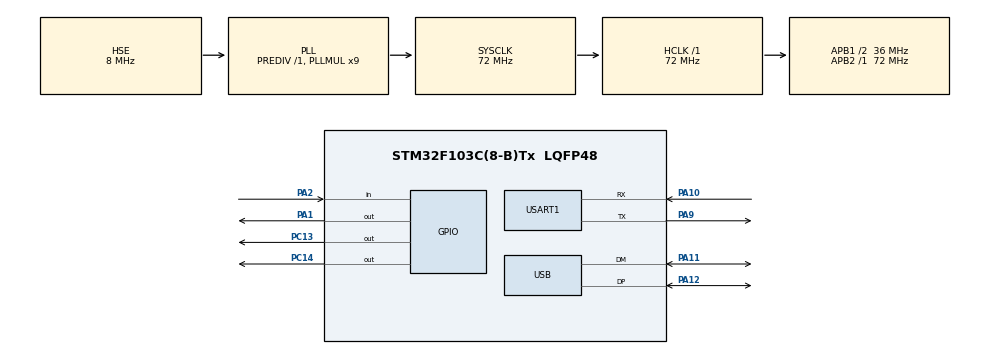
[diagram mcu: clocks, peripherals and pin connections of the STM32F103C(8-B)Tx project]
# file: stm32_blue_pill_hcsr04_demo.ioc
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FREERTOS.HEAP_NUMBER=5
FREERTOS.Tasks01=defaultTask,24,128,StartDefaultTask,Default,NULL,Dynamic,NULL,NULL;myLedTask,24,128,StartLedTask,Default,NULL,Dynamic,NULL,NULL;myBtn,24,128,StartBtnTask,Default,NULL,Dynamic,NULL,NULL
FREERTOS.Timers01=rtosTimer1,callbackTimer1,osTimerPeriodic,Default,NULL,Dynamic,NULL
FREERTOS.configUSE_STATS_FORMATTING_FUNCTIONS=1
Mcu.Family=STM32F1
Mcu.Name=STM32F103C(8-B)Tx
Mcu.Package=LQFP48
NVIC.PriorityGroup=NVIC_PRIORITYGROUP_4
NVIC.TIM2_IRQn=true\:0\:0\:false\:false\:true\:false\:false\:true
NVIC.TimeBase=TIM2_IRQn
NVIC.TimeBaseIP=TIM2
NVIC.USART1_IRQn=true\:5\:0\:false\:false\:true\:true\:true\:true
NVIC.USB_LP_CAN1_RX0_IRQn=true\:5\:0\:false\:false\:true\:true\:false\:true
PA1.Signal=GPIO_Output
PA10.Mode=Asynchronous
PA10.Signal=USART1_RX
PA11.Mode=Device
PA11.Signal=USB_DM
PA12.Mode=Device
PA12.Signal=USB_DP
PA13.Mode=Serial_Wire
PA13.Signal=SYS_JTMS-SWDIO
PA14.Mode=Serial_Wire
PA14.Signal=SYS_JTCK-SWCLK
PA2.Signal=GPIO_Input
PA9.Mode=Asynchronous
PA9.Signal=USART1_TX
PC13-TAMPER-RTC.Signal=GPIO_Output
PC14-OSC32_IN.Signal=GPIO_Output
PD0-OSC_IN.Mode=HSE-External-Oscillator
PD0-OSC_IN.Signal=RCC_OSC_IN
PD1-OSC_OUT.Mode=HSE-External-Oscillator
PD1-OSC_OUT.Signal=RCC_OSC_OUT
ProjectManager.HeapSize=0x200
ProjectManager.StackSize=0x400
ProjectManager.TargetToolchain=STM32CubeIDE
RCC.AHBFreq_Value=72000000
RCC.APB1CLKDivider=RCC_HCLK_DIV2
RCC.APB1Freq_Value=36000000
RCC.APB1TimFreq_Value=72000000
RCC.APB2Freq_Value=72000000
RCC.APB2TimFreq_Value=72000000
RCC.HCLKFreq_Value=72000000
RCC.PLLMUL=RCC_PLL_MUL9
RCC.PLLSourceVirtual=RCC_PLLSOURCE_HSE
RCC.SYSCLKFreq_VALUE=72000000
RCC.SYSCLKSource=RCC_SYSCLKSOURCE_PLLCLK
RCC.USBFreq_Value=48000000
RCC.USBPrescaler=RCC_USBCLKSOURCE_PLL_DIV1_5
TIM1.Period=0xffff-1
TIM1.Prescaler=72-1
TIM3.Period=0xffff-1
TIM3.Prescaler=72-1
USART1.VirtualMode=VM_ASYNC
USB_DEVICE.CLASS_NAME_FS=CDC
USB_DEVICE.VirtualMode=Cdc
USB_DEVICE.VirtualModeFS=Cdc_FS
VP_FREERTOS_VS_CMSIS_V2.Mode=CMSIS_V2
VP_SYS_VS_tim2.Mode=TIM2
VP_TIM1_VS_ClockSourceINT.Mode=Internal
VP_TIM3_VS_ClockSourceINT.Mode=Internal
VP_USB_DEVICE_VS_USB_DEVICE_CDC_FS.Mode=CDC_FS
board=custom

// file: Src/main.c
/* USER CODE BEGIN Header */
/**
  ******************************************************************************
  * @file           : main.c
  * @brief          : Main program body
  ******************************************************************************
  * @attention
  *
  * <h2><center>&copy; Copyright (c) 2019 STMicroelectronics.
  * All rights reserved.</center></h2>
  *
  * This software component is licensed by ST under BSD 3-Clause license,
  * the "License"; You may not use this file except in compliance with the
  * License. You may obtain a copy of the License at:
  *                        opensource.org/licenses/BSD-3-Clause
  *
  ******************************************************************************
  */
/* USER CODE END Header */

#include "main.h"
#include "cmsis_os.h"
#include "tim.h"
#include "usart.h"
#include "usb_device.h"
#include "gpio.h"

void SystemClock_Config(void);
void MX_FREERTOS_Init(void);

int main(void)
{

  /* MCU Configuration--------------------------------------------------------*/

  /* Reset of all peripherals, Initializes the Flash interface and the Systick. */
  HAL_Init();

  /* Configure the system clock */
  SystemClock_Config();

  /* Initialize all configured peripherals */
  MX_GPIO_Init();
  MX_USART1_UART_Init();
  MX_TIM1_Init();
  MX_TIM3_Init();
  /* USER CODE BEGIN 2 */
  HAL_TIM_Base_Start_IT(&htim1);
  HAL_TIM_Base_Start_IT(&htim3);
  /* USER CODE END 2 */
  /* Init scheduler */
  osKernelInitialize();

  /* Call init function for freertos objects (in freertos.c) */
  MX_FREERTOS_Init();

  /* Start scheduler */
  osKernelStart();

  /* We should never get here as control is now taken by the scheduler */

  /* Infinite loop */
  while (1)
  {

  }
}

void SystemClock_Config(void)
{
  RCC_OscInitTypeDef RCC_OscInitStruct = {0};
  RCC_ClkInitTypeDef RCC_ClkInitStruct = {0};
  RCC_PeriphCLKInitTypeDef PeriphClkInit = {0};

  /** Initializes the CPU, AHB and APB busses clocks
  */
  RCC_OscInitStruct.OscillatorType = RCC_OSCILLATORTYPE_HSE;
  RCC_OscInitStruct.HSEState = RCC_HSE_ON;
  RCC_OscInitStruct.HSEPredivValue = RCC_HSE_PREDIV_DIV1;
  RCC_OscInitStruct.HSIState = RCC_HSI_ON;
  RCC_OscInitStruct.PLL.PLLState = RCC_PLL_ON;
  RCC_OscInitStruct.PLL.PLLSource = RCC_PLLSOURCE_HSE;
  RCC_OscInitStruct.PLL.PLLMUL = RCC_PLL_MUL9;
  if (HAL_RCC_OscConfig(&RCC_OscInitStruct) != HAL_OK)
  {
    Error_Handler();
  }
  /** Initializes the CPU, AHB and APB busses clocks
  */
  RCC_ClkInitStruct.ClockType = RCC_CLOCKTYPE_HCLK|RCC_CLOCKTYPE_SYSCLK
                              |RCC_CLOCKTYPE_PCLK1|RCC_CLOCKTYPE_PCLK2;
  RCC_ClkInitStruct.SYSCLKSource = RCC_SYSCLKSOURCE_PLLCLK;
  RCC_ClkInitStruct.AHBCLKDivider = RCC_SYSCLK_DIV1;
  RCC_ClkInitStruct.APB1CLKDivider = RCC_HCLK_DIV2;
  RCC_ClkInitStruct.APB2CLKDivider = RCC_HCLK_DIV1;

  if (HAL_RCC_ClockConfig(&RCC_ClkInitStruct, FLASH_LATENCY_2) != HAL_OK)
  {
    Error_Handler();
  }
  PeriphClkInit.PeriphClockSelection = RCC_PERIPHCLK_USB;
  PeriphClkInit.UsbClockSelection = RCC_USBCLKSOURCE_PLL_DIV1_5;
  if (HAL_RCCEx_PeriphCLKConfig(&PeriphClkInit) != HAL_OK)
  {
    Error_Handler();
  }
}

void HAL_TIM_PeriodElapsedCallback(TIM_HandleTypeDef *htim)
{
  if (htim->Instance == TIM2) {
    HAL_IncTick();
  }
}

void Error_Handler(void)
{
}

/************************ (C) COPYRIGHT STMicroelectronics *****END OF FILE****/

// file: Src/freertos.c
/* USER CODE BEGIN Header */
/**
  ******************************************************************************
  * File Name          : freertos.c
  * Description        : Code for freertos applications
  ******************************************************************************
  * @attention
  *
  * <h2><center>&copy; Copyright (c) 2020 STMicroelectronics.
  * All rights reserved.</center></h2>
  *
  * This software component is licensed by ST under Ultimate Liberty license
  * SLA0044, the "License"; You may not use this file except in compliance with
  * the License. You may obtain a copy of the License at:
  *                             www.st.com/SLA0044
  *
  ******************************************************************************
  */
/* USER CODE END Header */

#include "FreeRTOS.h"
#include "task.h"
#include "main.h"
#include "cmsis_os.h"

/* USER CODE BEGIN Includes */
#include "usart.h"
#include "tim.h"
/* USER CODE END Includes */

/* USER CODE BEGIN PD */
#define timeout_expired(start, len) ((HAL_GetTick() - (start)) >= (len))
#define TIMEOUT "TIMEOUT!"
uint32_t local_time, sensor_time;
const float speedOfSound = 0.0343/2;
uint8_t buff[10];
uint32_t distance, local_time;
/* USER CODE END PD */

/* USER CODE BEGIN Variables */
char pcWriteBuffer[1024];
/* USER CODE END Variables */
/* Definitions for defaultTask */
osThreadId_t defaultTaskHandle;
const osThreadAttr_t defaultTask_attributes = {
  .name = "defaultTask",
  .priority = (osPriority_t) osPriorityNormal,
  .stack_size = 128
};
/* Definitions for myLedTask */
osThreadId_t myLedTaskHandle;
const osThreadAttr_t myLedTask_attributes = {
  .name = "myLedTask",
  .priority = (osPriority_t) osPriorityNormal,
  .stack_size = 128
};
/* Definitions for myBtn */
osThreadId_t myBtnHandle;
const osThreadAttr_t myBtn_attributes = {
  .name = "myBtn",
  .priority = (osPriority_t) osPriorityNormal,
  .stack_size = 712
};
/* Definitions for rtosTimer1 */
osTimerId_t rtosTimer1Handle;
const osTimerAttr_t rtosTimer1_attributes = {
  .name = "rtosTimer1"
};

/* USER CODE BEGIN FunctionPrototypes */
uint32_t hcsr04_read (void);
/* USER CODE END FunctionPrototypes */

void StartDefaultTask(void *argument);
void StartLedTask(void *argument);
void StartBtnTask(void *argument);
void callbackTimer1(void *argument);

extern void MX_USB_DEVICE_Init(void);
void MX_FREERTOS_Init(void); /* (MISRA C 2004 rule 8.1) */

void MX_FREERTOS_Init(void) {

  /* Create the timer(s) */
  /* creation of rtosTimer1 */
  rtosTimer1Handle = osTimerNew(callbackTimer1, osTimerPeriodic, NULL, &rtosTimer1_attributes);

  /* Create the thread(s) */
  /* creation of defaultTask */
  defaultTaskHandle = osThreadNew(StartDefaultTask, NULL, &defaultTask_attributes);

  /* creation of myLedTask */
  myLedTaskHandle = osThreadNew(StartLedTask, NULL, &myLedTask_attributes);

  /* creation of myBtn */
  myBtnHandle = osThreadNew(StartBtnTask, NULL, &myBtn_attributes);

}

void StartDefaultTask(void *argument)
{
  /* init code for USB_DEVICE */
  MX_USB_DEVICE_Init();
  /* USER CODE BEGIN StartDefaultTask */
  /* Infinite loop */
  for(;;)
  {
    osDelay(1000);
  }
  /* USER CODE END StartDefaultTask */
}

void StartLedTask(void *argument)
{
  /* USER CODE BEGIN StartLedTask */
  /* Infinite loop */
  for(;;)
  {
	   osDelay(1000);
	  HAL_GPIO_TogglePin(GPIOC, GPIO_PIN_13);
//	  uint8_t buff[] = "Hello world\r\n";
//	 	  HAL_UART_Transmit_IT(&huart1, buff, strlen(buff));

  }
  /* USER CODE END StartLedTask */
}

void StartBtnTask(void *argument)
{
  /* USER CODE BEGIN StartBtnTask */
  /* Infinite loop */
  for(;;)
  {
	  HAL_GPIO_TogglePin(GPIOC, GPIO_PIN_14);
	  uint32_t distance  = hcsr04_read();
	  memset(buff, 0, sizeof buff);
	  int_to_char_arr(distance, buff);

	  HAL_UART_Transmit_IT(&huart1, buff, strlen(buff));
	  CDC_Transmit_FS(buff, strlen(buff));
	  osDelay(1000);
  }
  /* USER CODE END StartBtnTask */
}

/* callbackTimer1 function */
void callbackTimer1(void *argument)
{
  /* USER CODE BEGIN callbackTimer1 */

	float val = 123.234;
	char buff1[] = "123.123\r\n";
	//HAL_UART_Transmit_IT(&huart1, buff1, strlen(buff1));
  /* USER CODE END callbackTimer1 */
}

/* USER CODE BEGIN Application */
uint32_t hcsr04_read (void)
{
	local_time=0;
	HAL_GPIO_WritePin(GPIOA, GPIO_PIN_1, GPIO_PIN_RESET);  // pull the TRIG pin HIGH
	delay(2);  // wait for 2 us

	HAL_GPIO_WritePin(GPIOA, GPIO_PIN_1, GPIO_PIN_SET);  // pull the TRIG pin HIGH
	delay(10);  // wait for 10 us
	HAL_GPIO_WritePin(GPIOA, GPIO_PIN_1, GPIO_PIN_RESET);  // pull the TRIG pin low

	// read the time for which the pin is high
	int32_t start = HAL_GetTick();
	while (HAL_GPIO_ReadPin(GPIOA, GPIO_PIN_2) == GPIO_PIN_RESET)// wait for the ECHO pin to go high
	{
		if (timeout_expired(start, 2000)) {
			CDC_Transmit_FS(TIMEOUT, strlen(TIMEOUT));
			break;
		}
	}
	start = HAL_GetTick();
	while (HAL_GPIO_ReadPin(GPIOA, GPIO_PIN_2) == GPIO_PIN_SET)    // while the pin is high
	 {
		if (timeout_expired(start, 2000)) {
					CDC_Transmit_FS(TIMEOUT, strlen(TIMEOUT));
					break;
				}
		local_time++;   // measure time for which the pin is high
		delay(1);
	 }
	return 28*local_time* speedOfSound;
}

void delay (uint32_t us)
{
	__HAL_TIM_SET_COUNTER(&htim1, 0);
	while ((__HAL_TIM_GET_COUNTER(&htim1))<us);
}

void int_to_char_arr(uint32_t source, uint8_t *buf)
{
    int i = 0;
    while(source > 0) {
        buf[i] = source % 10 + 48;
        source = source/10;
        i++;
    }
    if(source != 0)
    	reverse(buf, i);
    buff[i++] = 13;
}

void reverse(uint8_t* arr, uint16_t n)
{
	uint16_t temp = 0;
	for (uint16_t low = 0, high = n - 1; low < high; low++, high--) {
		temp = arr[high];
		arr[high] = arr[low];
		arr[low] = temp;
	}
}
/* USER CODE END Application */

/************************ (C) COPYRIGHT STMicroelectronics *****END OF FILE****/
